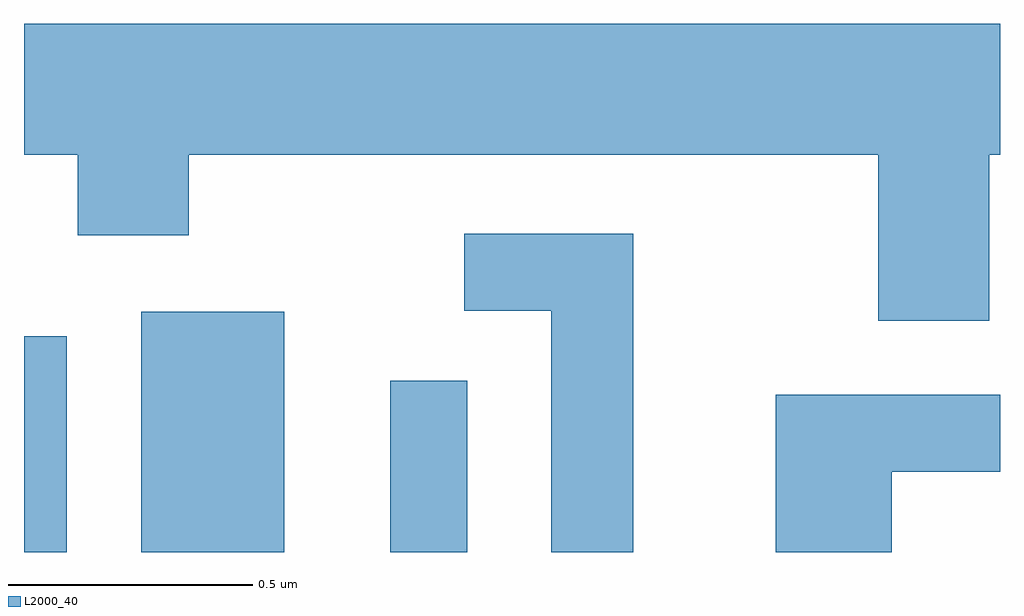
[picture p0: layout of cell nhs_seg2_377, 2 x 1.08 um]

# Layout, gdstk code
import gdstk
lib = gdstk.Library(unit=1e-6, precision=1e-09)
def R(c, l, rs):  # rectangles x0, y0, x1, y1
    for r in rs: c.add(gdstk.rectangle(r[:2], r[2:], *l))
def P(c, l, *ps):  # polygons
    for p in ps: c.add(gdstk.Polygon(p, *l))
L2000_40 = (2000, 40)

nhs_seg2_377 = lib.new_cell('nhs_seg2_377')
R(nhs_seg2_377, L2000_40, [(187.611,1080.802,187.699,1081.244), (187.851,1080.802,188.144,1081.294), (188.361,1080.802,188.519,1081.153)])
P(nhs_seg2_377, L2000_40, [(189.589,1081.616),(189.611,1081.616),(189.611,1081.884),(187.611,1081.884),(187.611,1081.616),(187.721,1081.616),(187.721,1081.451),(187.949,1081.451),(187.949,1081.616),(189.361,1081.616),(189.361,1081.276),(189.589,1081.276)],
  [(188.859,1081.454),(188.513,1081.454),(188.513,1081.296),(188.691,1081.296),(188.691,1080.802),(188.859,1080.802)],
  [(189.389,1080.966),(189.611,1080.966),(189.611,1081.124),(189.151,1081.124),(189.151,1080.802),(189.389,1080.802)])

lib.write_gds('nhs_seg2_377.gds')
